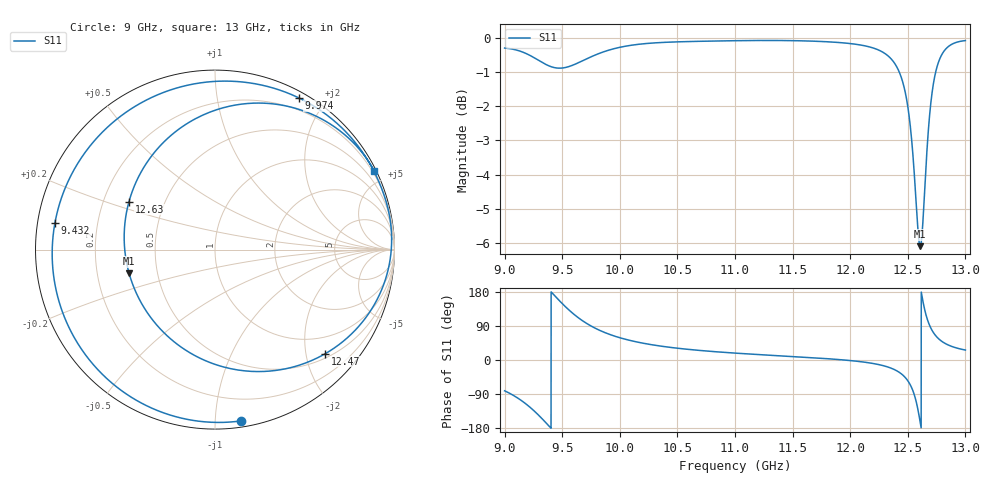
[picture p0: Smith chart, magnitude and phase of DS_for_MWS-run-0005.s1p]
! TOUCHSTONE file generated by CST DESIGN STUDIO
! Date and time: Tue Feb  4 14:29:03 2025
! Project name: C:\Work\MatlabApps\UnitCellOptimizationMatlab\CST\unitcell.cst
! Tree item: Tasks\Sweep1\SPara1\S-Parameters
! Header version: 2024
! Port assignment regex: !\s*Touchstone port\s*([0-9]+)\s*=\s*(CST MWS port|CST DES external port|CST DES block port)\s*(.+)\s* \(\"(.*)\"\)(\s*mode\s*([0-9]+))?.*
! Touchstone port assignment:
! Touchstone port 1 = CST DES external port 1 ("")
# GHz S MA R 50
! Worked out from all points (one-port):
!   4001 points, 9 GHz to 13 GHz, reference 50 ohm
!   lowest |S11| = -6.1 dB at 12.61 GHz (marker M1), VSWR 2.97, Z = 17.1 - j5.94 ohm
!   |S11| at or under -10 dB: nowhere
!   S11 on the Smith chart (normalised r, x): 9 GHz: 0.04, -1.16; 9.432 GHz: 0.05, +0.08; 9.974 GHz: 0.07, +1.69; 12.47 GHz: 0.59, -2.39; 12.63 GHz: 0.31, +0.24; 13 GHz: 0.10, +4.29
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9  0.9654 -81.3
9.122  0.9569 -102.0
9.219  0.942 -124.3
9.336  0.9179 -158.3
9.432  0.9041 170.5
9.5  0.9028 149.0
9.591  0.9114 123.3
9.688  0.927 101.2
9.827  0.949 78.0
9.974  0.9656 61.2
10  0.9678 58.8
10.215  0.9797 43.6
10.5  0.9857 31.1
11  0.9895 18.2
11.5  0.9897 9.1
12  0.9801 -1.4
12.323  0.9421 -18.1
12.469  0.845 -43.3
12.5  0.7933 -54.7
12.56  0.6199 -95.3
12.583  0.5394 -123.4
12.608  0.4966 -164.7
12.634  0.5489 150.8
12.673  0.7116 104.2
12.716  0.8432 75.4
12.764  0.9182 57.0
12.821  0.9587 44.2
13  0.9899 26.3
